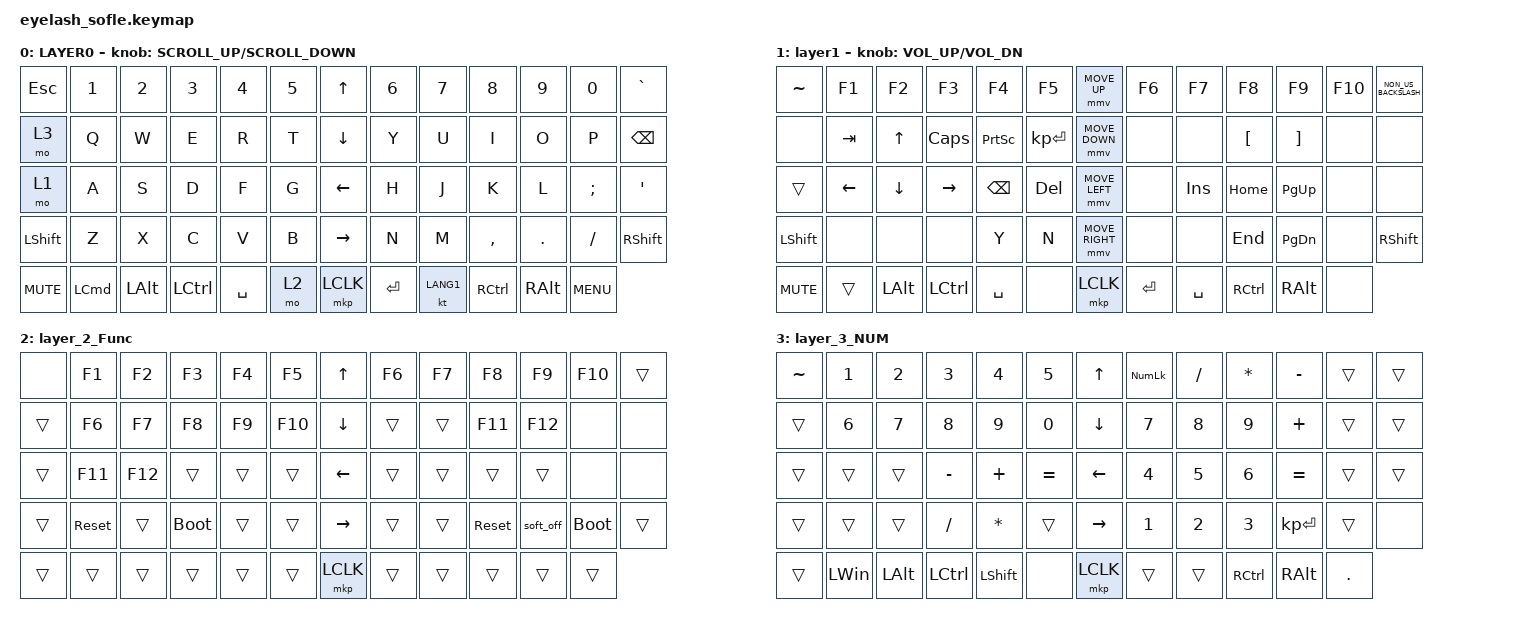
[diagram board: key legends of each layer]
#define ZMK_POINTING_DEFAULT_MOVE_VAL 1200  // 600
#define ZMK_POINTING_DEFAULT_SCRL_VAL 35    // 10

#include <input/processors.dtsi>
#include <zephyr/dt-bindings/input/input-event-codes.h>
#include <behaviors.dtsi>
#include <dt-bindings/zmk/keys.h>
#include <dt-bindings/zmk/pointing.h>

/ {
    zip_scroll_scaler: zip_scroll_scaler {
        compatible = "zmk,input-processor-scaler";
        #input-processor-cells = <2>;
        type = <INPUT_EV_REL>;
        codes = <INPUT_REL_WHEEL INPUT_REL_HWHEEL>;
        track-remainders;
    };
};

&mmv_input_listener { input-processors = <&zip_xy_scaler 2 1>; };

&msc_input_listener { input-processors = <&zip_scroll_scaler 2 1>; };

&msc {
    acceleration-exponent = <0>;      // 0
    time-to-max-speed-ms = <0>;       // 300
    delay-ms = <0>;                   // 0
};

&mmv {
    time-to-max-speed-ms = <400>;
    acceleration-exponent = <1>;
};

/ {
    scroll_encoder: scroll_encoder {
        compatible = "zmk,behavior-sensor-rotate";
        #sensor-binding-cells = <0>;
        bindings = <&msc SCRL_DOWN>, <&msc SCRL_UP>;

        tap-ms = <30>;
    };

    behaviors {
    };

    keymap {
        compatible = "zmk,keymap";

        layer0 {
            bindings = <
&kp ESC     &kp N1            &kp N2        &kp N3     &kp N4     &kp N5    &kp UP_ARROW     &kp N6     &kp N7     &kp N8     &kp N9         &kp N0      &kp GRAVE
&mo 3       &kp Q             &kp W         &kp E      &kp R      &kp T     &kp DOWN_ARROW   &kp Y      &kp U      &kp I      &kp O          &kp P       &kp BACKSPACE
&mo 1       &kp A             &kp S         &kp D      &kp F      &kp G     &kp LEFT_ARROW   &kp H      &kp J      &kp K      &kp L          &kp SEMI    &kp APOS
&kp LSHFT   &kp Z             &kp X         &kp C      &kp V      &kp B     &kp RIGHT_ARROW  &kp N      &kp M      &kp COMMA  &kp DOT        &kp FSLH    &kp RIGHT_SHIFT
&kp C_MUTE  &kp LEFT_COMMAND  &kp LEFT_ALT  &kp LCTRL  &kp SPACE  &mo 2     &mkp LCLK        &kp ENTER  &kt LANG1  &kp RCTRL  &kp RIGHT_ALT  &kp C_MENU
            >;

            display-name = "LAYER0";
            sensor-bindings = <&inc_dec_kp K_SCROLL_UP K_SCROLL_DOWN>;
        };

        layer_1_Arrow {
            bindings = <
&kp TILDE       &kp F1          &kp F2          &kp F3           &kp F4           &kp F5          &mmv MOVE_UP     &kp F6     &kp F7      &kp F8            &kp F9             &kp F10  &kp NON_US_BACKSLASH
&none           &kp TAB         &kp UP_ARROW    &kp CAPSLOCK     &kp PRINTSCREEN  &kp KP_ENTER    &mmv MOVE_DOWN   &none      &none       &kp LEFT_BRACKET  &kp RIGHT_BRACKET  &none    &none
&trans          &kp LEFT_ARROW  &kp DOWN_ARROW  &kp RIGHT_ARROW  &kp BACKSPACE    &kp DELETE      &mmv MOVE_LEFT   &none      &kp INSERT  &kp HOME          &kp PAGE_UP        &none    &none
&kp LEFT_SHIFT  &none           &none           &none            &kp Y            &kp N           &mmv MOVE_RIGHT  &none      &none       &kp END           &kp PG_DN          &none    &kp RIGHT_SHIFT
&kp C_MUTE      &trans          &kp LEFT_ALT    &kp LCTRL        &kp SPACE        &none           &mkp LCLK        &kp ENTER  &kp SPACE   &kp RCTRL         &kp RIGHT_ALT      &none
            >;

            display-name = "layer1";
            sensor-bindings = <&inc_dec_kp C_VOL_UP C_VOL_DN>;
        };

        layer_2_Func {
            bindings = <
&none   &kp F1      &kp F2   &kp F3       &kp F4  &kp F5     &kp UP_ARROW     &kp F6  &kp F7  &kp F8      &kp F9     &kp F10      &trans
&trans  &kp F6      &kp F7   &kp F8       &kp F9  &kp F10    &kp DOWN_ARROW   &trans  &trans  &kp F11     &kp F12    &none        &none
&trans  &kp F11     &kp F12  &trans       &trans  &trans     &kp LEFT_ARROW   &trans  &trans  &trans      &trans     &none        &none
&trans  &sys_reset  &trans   &bootloader  &trans  &trans     &kp RIGHT_ARROW  &trans  &trans  &sys_reset  &soft_off  &bootloader  &trans
&trans  &trans      &trans   &trans       &trans  &trans     &mkp LCLK        &trans  &trans  &trans      &trans     &trans
            >;
        };

        layer_3_NUM {
            bindings = <
&kp TILDE  &kp N1        &kp N2        &kp N3     &kp N4        &kp N5       &kp UP_ARROW     &kp KP_NUMLOCK  &kp SLASH  &kp ASTERISK  &kp MINUS     &trans   &trans
&trans     &kp N6        &kp N7        &kp N8     &kp N9        &kp N0       &kp DOWN_ARROW   &kp N7          &kp N8     &kp N9        &kp PLUS      &trans   &trans
&trans     &trans        &trans        &kp MINUS  &kp PLUS      &kp EQUAL    &kp LEFT_ARROW   &kp N4          &kp N5     &kp N6        &kp EQUAL     &trans   &trans
&trans     &trans        &trans        &kp SLASH  &kp ASTERISK  &trans       &kp RIGHT_ARROW  &kp N1          &kp N2     &kp N3        &kp KP_ENTER  &trans   &none
&trans     &kp LEFT_WIN  &kp LEFT_ALT  &kp LCTRL  &kp LSHFT     &none        &mkp LCLK        &trans          &trans     &kp RCTRL     &kp RALT      &kp DOT
            >;
        };
    };
};
